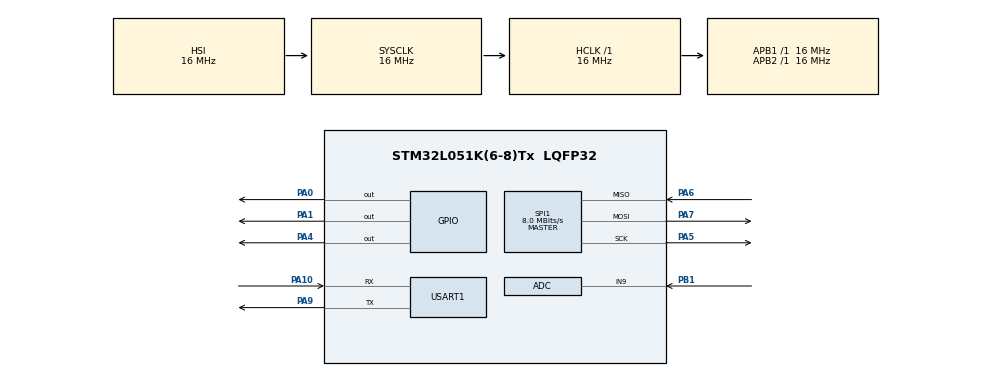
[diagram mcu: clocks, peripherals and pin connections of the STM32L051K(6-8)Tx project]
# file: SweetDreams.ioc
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ADC.ContinuousConvMode=ENABLE
ADC.DMAContinuousRequests=ENABLE
Dma.ADC.0.Direction=DMA_PERIPH_TO_MEMORY
Dma.ADC.0.Instance=DMA1_Channel1
Dma.ADC.0.MemDataAlignment=DMA_MDATAALIGN_BYTE
Dma.ADC.0.MemInc=DMA_MINC_ENABLE
Dma.ADC.0.Mode=DMA_CIRCULAR
Dma.ADC.0.PeriphDataAlignment=DMA_PDATAALIGN_BYTE
Dma.ADC.0.PeriphInc=DMA_PINC_DISABLE
Dma.ADC.0.Priority=DMA_PRIORITY_LOW
Dma.Request0=ADC
Mcu.Family=STM32L0
Mcu.Name=STM32L051K(6-8)Tx
Mcu.Package=LQFP32
NVIC.DMA1_Channel1_IRQn=true\:0\:0\:false\:false\:true\:false\:true\:true
NVIC.RTC_IRQn=true\:0\:0\:false\:false\:true\:true\:true\:true
PA0.PinState=GPIO_PIN_SET
PA0.Signal=GPIO_Output
PA1.Signal=GPIO_Output
PA10.Mode=Asynchronous
PA10.Signal=USART1_RX
PA4.PinState=GPIO_PIN_SET
PA4.Signal=GPIO_Output
PA5.Mode=Full_Duplex_Master
PA5.Signal=SPI1_SCK
PA6.Mode=Full_Duplex_Master
PA6.Signal=SPI1_MISO
PA7.Mode=Full_Duplex_Master
PA7.Signal=SPI1_MOSI
PA9.Mode=Asynchronous
PA9.Signal=USART1_TX
PB1.Mode=IN9
PB1.Signal=ADC_IN9
ProjectManager.HeapSize=0x200
ProjectManager.StackSize=0x400
ProjectManager.TargetToolchain=STM32CubeIDE
RCC.AHBFreq_Value=16000000
RCC.APB1Freq_Value=16000000
RCC.APB1TimFreq_Value=16000000
RCC.APB2Freq_Value=16000000
RCC.APB2TimFreq_Value=16000000
RCC.HCLKFreq_Value=16000000
RCC.HSI16_VALUE=16000000
RCC.HSI_VALUE=16000000
RCC.LSE_VALUE=32768
RCC.MSI_VALUE=2097000
RCC.SYSCLKFreq_VALUE=16000000
RCC.SYSCLKSource=RCC_SYSCLKSOURCE_HSI
RCC.VCOOutputFreq_Value=48000000
SPI1.CalculateBaudRate=8.0 MBits/s
SPI1.Direction=SPI_DIRECTION_2LINES
SPI1.Mode=SPI_MODE_MASTER
SPI1.VirtualType=VM_MASTER
USART1.SwapParam=ADVFEATURE_SWAP_ENABLE
USART1.VirtualMode-Asynchronous=VM_ASYNC
VP_RTC_VS_RTC_Activate.Mode=RTC_Enabled
VP_RTC_VS_RTC_WakeUp_intern.Mode=WakeUp
board=custom

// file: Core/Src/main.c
/* USER CODE BEGIN Header */
/**
  ******************************************************************************
  * @file           : main.c
  * @brief          : Main program body
  ******************************************************************************
  * @attention
  *
  * Copyright (c) 2023 STMicroelectronics.
  * All rights reserved.
  *
  * This software is licensed under terms that can be found in the LICENSE file
  * in the root directory of this software component.
  * If no LICENSE file comes with this software, it is provided AS-IS.
  *
  ******************************************************************************
  */
/* USER CODE END Header */
#include "main.h"

/* USER CODE BEGIN Includes */
#include "bme280.h"
#include "bma456.h"
#include <stdio.h>
#include <string.h>
/* USER CODE END Includes */

/* USER CODE BEGIN PD */
#define BUFFER_SIZE 128
#define receive_size 1
/* USER CODE END PD */

ADC_HandleTypeDef hadc;
DMA_HandleTypeDef hdma_adc;

RTC_HandleTypeDef hrtc;

SPI_HandleTypeDef hspi1;

UART_HandleTypeDef huart1;

/* USER CODE BEGIN PV */
//char ATcommand[64];
uint16_t ble_msg_len;
uint16_t i = 0;
//char buffer[BUFFER_SIZE];
//int bufferIndex = 0;
//uint8_t received_byte[10];
uint16_t adc_buffer[32];
/* USER CODE END PV */

void SystemClock_Config(void);
static void MX_GPIO_Init(void);
static void MX_DMA_Init(void);
static void MX_ADC_Init(void);
static void MX_USART1_UART_Init(void);
static void MX_SPI1_Init(void);
static void MX_RTC_Init(void);

/* USER CODE BEGIN 0 */
#define SENSOR_BUS hspi1;
struct bme280_dev dev;
struct bme280_data comp_data;
void BMA456_SPI_Read(uint8_t reg_addr, uint8_t *reg_data, uint32_t len_addr, uint32_t len_data);
void BMA456_SPI_Write(uint8_t reg_addr, uint8_t reg_data);
uint8_t BMA456_Check_Connection();
uint8_t data_read[6];
//void SendMSG(char* cmd){
//	  ble_msg_len= strlen(cmd);
//
//	  strcpy(ATcommand,cmd);
//	  ATcommand[ble_msg_len++]='\r';
////
//
////      received_byte[9] = '\0'; // Null-terminate the buffer
////	  memset( received_byte, 0, 10);
//	  HAL_UART_Transmit(&huart1,(uint8_t *)ATcommand,ble_msg_len,HAL_MAX_DELAY);
//	  HAL_Delay(1000);
//	  for(uint8_t u; u<64; u++){
//		  ATcommand[u]=0;
//	  }
//
//
//}

//uint8_t BME280_Check_Connection(void *intf_ptr)
//{
//	uint8_t reg_addr = 0xD0;
//	reg_addr |= 0x80;
//	uint8_t reg_addr_tab[2];
//	reg_addr_tab[0] = reg_addr;
//	uint8_t reg_data[2];
//
//    HAL_GPIO_WritePin(GPIOA, GPIO_PIN_4, GPIO_PIN_RESET);
//
//    HAL_SPI_TransmitReceive(intf_ptr, reg_addr_tab,reg_data, 2, 1000);
//	//HAL_SPI_Receive(intf_ptr,  2, 1000);
//
//    HAL_GPIO_WritePin(GPIOA, GPIO_PIN_4, GPIO_PIN_SET);
//
//    if( reg_data[1] == 0x60)
//    {
//    	return 1;
//    }else{
//    	return 0;
//    }
//}
//void HAL_UART_RxCpltCallback(UART_HandleTypeDef *huart);
void HAL_ADC_ConvHalfCpltCallback(ADC_HandleTypeDef* hadc);
void HAL_ADC_ConvCpltCallback(ADC_HandleTypeDef* hadc);
/* USER CODE END 0 */

int main(void)
{

  /* MCU Configuration--------------------------------------------------------*/

  /* Reset of all peripherals, Initializes the Flash interface and the Systick. */
  HAL_Init();

  /* Configure the system clock */
  SystemClock_Config();

  /* Initialize all configured peripherals */
  MX_GPIO_Init();
  MX_DMA_Init();
  MX_ADC_Init();
  MX_USART1_UART_Init();
  MX_SPI1_Init();
  MX_RTC_Init();
  /* USER CODE BEGIN 2 */
  HAL_Delay(800);
  HAL_ADC_Start_DMA(&hadc, adc_buffer,64);
  //HAL_UART_Receive_IT(&huart1,  received_byte,2);

  //HAL_UART_IRQHandler(&huart1);
  HAL_Delay(800);
 // printf("Test UART\r\n");
 // SendMSG("\n");
  int8_t rslt_bme = bme280_init(&dev);
  if (rslt_bme != BME280_OK)
  {
	  while(1);
  }
  HAL_Delay(100);
  uint8_t rslt_bma = BMA456_Check_Connection();
  if(rslt_bma != 1)
  {
	  while(1);
  }
  HAL_Delay(100);
  stream_sensor_data_normal_mode(&dev);
  //uint8_t rslt_bme = BME280_Check_Connection(&hspi1);

//  // HAL_Delay(1000);
//  SendMSG("AT");
//
//
//  HAL_Delay(1000);
//  SendMSG("AT&F");
//
//
//  HAL_Delay(1000);
//  SendMSG("AT%S 0=\"Cuk1\""); // ustawienie device name
//
//
//  HAL_Delay(1000);
//  SendMSG("AT%S 1=\"2154657374776961646F6D6F73636921\""); //UUID
//
//
//  HAL_Delay(1000);
//  SendMSG("ATS 100=1"); // VSP And start advertow
//
//
//  HAL_Delay(1000);
//  SendMSG("ATS 100=?"); // VSP And start advertow
//
//
//  HAL_Delay(1000);
//
//  SendMSG("ATS 101=4"); // 4dBm
//
//  HAL_Delay(800);
//  SendMSG("ATS 103=0"); // nazwe ustawia na ta wczesniej wpisana
//
//
//  HAL_Delay(1000);
//  SendMSG("ATS 106=100"); // ustawia 100 sekund na skanowanie
////  HAL_Delay(800);
////  SendMSG("ATS 108=3"); // ustawia tryb advertow dla nonvsp
//
//
//
//
//  HAL_Delay(1000);
//  SendMSG("ATS 109=1");
//  HAL_Delay(1000);
//  SendMSG("ATS 109?");
//  //adc_buffer;
//  HAL_Delay(1000);
// // received_byte[0];
//  SendMSG("ATS 201=200");  // interwal advertow vsp
//
//  HAL_Delay(1000);
//
//  SendMSG("ATS 204=256");  // tx bufor vsp
//
//  HAL_Delay(1000);
//
//  SendMSG("ATS 205=256");  // rx bufor vsp
//
//  HAL_Delay(1000);
//
//  SendMSG("ATS 301=7500");  //vsp connection interval
//
//  HAL_Delay(1000);
//
//
//  SendMSG("AT&W"); // zapis rejestru S
//  HAL_Delay(1000);
//
//
//  SendMSG("ATZ"); //restart
//  HAL_Delay(1000);
//
//
//  printf("Kuniec \r\n");
  //SendMSG("AT+LSCN, 500"); //start scanowania do vsp z limitem 500 sekund

  HAL_Delay(800);
  /* USER CODE END 2 */

  /* Infinite loop */
  /* USER CODE BEGIN WHILE */
//  uint8_t Sum[2];
//  Sum[0] = rslt_a;
//  Sum[1] = rslt_e;
 // char Sum_s[2][4];
char Temp[10];
char Hum[10];
  rslt_bma=100;
  rslt_bme=150;

//  itoa(rslt_bma, Sum_s[0], 10);
//  itoa(rslt_bme, Sum_s[1], 10);
//
//  for(int i=strlen(Sum_s[0]); i<=3; i++){
//	  Sum_s[0][i]=' ';
//  }
//
//  for(int i=strlen(Sum_s[1]); i<=3; i++){
//	  Sum_s[1][i]=' ';
//  }

  while (1)
  {
	  //double temp = comp_data->temperature;
	  //double hum = comp_data->humidity;
//	  itoa(comp_data.temperature, Sum_s[0], 10);
//	  itoa(comp_data.humidity, Sum_s[1], 10);
//	  for(int i=strlen(Sum_s[0]); i<=3; i++){
//		  Sum_s[0][i]=' ';
//	  }
//
//	  for(int i=strlen(Sum_s[1]); i<=3; i++){
//		  Sum_s[1][i]=' ';
//	  }
	  sprintf(Temp, "%f",comp_data.temperature);
	  sprintf(Hum, "%f",comp_data.humidity);
	  HAL_Delay(1000);
	  HAL_GPIO_WritePin(GPIOA, GPIO_PIN_1, GPIO_PIN_SET);
	  HAL_Delay(2000);
	  HAL_GPIO_WritePin(GPIOA, GPIO_PIN_1, GPIO_PIN_RESET);
	  bme280_get_sensor_data(BME280_HUM, &comp_data,&dev);
	  BMA456_Get_Sensor_Data(data_read);
//	  HAL_UART_Transmit(&huart1,temp,4,HAL_MAX_DELAY);
//	  HAL_UART_Transmit(&huart1,hum,4,HAL_MAX_DELAY);
	  HAL_UART_Transmit(&huart1,Temp,4,HAL_MAX_DELAY);
	  HAL_UART_Transmit(&huart1,Hum,4,HAL_MAX_DELAY);
//	  HAL_UART_Transmit(&huart1,adc_buffer,strlen(adc_buffer),HAL_MAX_DELAY);
//	  HAL_GPIO_WritePin(GPIOA, GPIO_PIN_4, GPIO_PIN_RESET);
//	  HAL_SPI_Receive(&hspi2, tempbuff, 13, 1000);
//
//	  HAL_GPIO_WritePin(GPIOA, GPIO_PIN_4, GPIO_PIN_SET);
	    HAL_SuspendTick();

	  HAL_RTCEx_SetWakeUpTimer_IT(&hrtc, 0x5A56, RTC_WAKEUPCLOCK_RTCCLK_DIV16);

	  	 // HAL_PWREx_EnableLowPowerRunMode();
	  	  HAL_PWR_EnterSTOPMode(PWR_LOWPOWERREGULATOR_ON, PWR_STOPENTRY_WFI);
	    //HAL_PWREx_EnterSTOP2Mode(PWR_STOPENTRY_WFI);
	    HAL_RTCEx_DeactivateWakeUpTimer(&hrtc);
	    SystemClock_Config();
	    HAL_ResumeTick();
	    HAL_Delay(2000);
	   // HAL_PWREx_DisableLowPowerRunMode();
    /* USER CODE END WHILE */

  }
}

void SystemClock_Config(void)
{
  RCC_OscInitTypeDef RCC_OscInitStruct = {0};
  RCC_ClkInitTypeDef RCC_ClkInitStruct = {0};
  RCC_PeriphCLKInitTypeDef PeriphClkInit = {0};

  /** Configure the main internal regulator output voltage
  */
  __HAL_PWR_VOLTAGESCALING_CONFIG(PWR_REGULATOR_VOLTAGE_SCALE1);

  /** Initializes the RCC Oscillators according to the specified parameters
  * in the RCC_OscInitTypeDef structure.
  */
  RCC_OscInitStruct.OscillatorType = RCC_OSCILLATORTYPE_HSI|RCC_OSCILLATORTYPE_LSI;
  RCC_OscInitStruct.HSIState = RCC_HSI_ON;
  RCC_OscInitStruct.HSICalibrationValue = RCC_HSICALIBRATION_DEFAULT;
  RCC_OscInitStruct.LSIState = RCC_LSI_ON;
  RCC_OscInitStruct.PLL.PLLState = RCC_PLL_NONE;
  if (HAL_RCC_OscConfig(&RCC_OscInitStruct) != HAL_OK)
  {
    Error_Handler();
  }

  /** Initializes the CPU, AHB and APB buses clocks
  */
  RCC_ClkInitStruct.ClockType = RCC_CLOCKTYPE_HCLK|RCC_CLOCKTYPE_SYSCLK
                              |RCC_CLOCKTYPE_PCLK1|RCC_CLOCKTYPE_PCLK2;
  RCC_ClkInitStruct.SYSCLKSource = RCC_SYSCLKSOURCE_HSI;
  RCC_ClkInitStruct.AHBCLKDivider = RCC_SYSCLK_DIV1;
  RCC_ClkInitStruct.APB1CLKDivider = RCC_HCLK_DIV1;
  RCC_ClkInitStruct.APB2CLKDivider = RCC_HCLK_DIV1;

  if (HAL_RCC_ClockConfig(&RCC_ClkInitStruct, FLASH_LATENCY_0) != HAL_OK)
  {
    Error_Handler();
  }
  PeriphClkInit.PeriphClockSelection = RCC_PERIPHCLK_USART1|RCC_PERIPHCLK_RTC;
  PeriphClkInit.Usart1ClockSelection = RCC_USART1CLKSOURCE_PCLK2;
  PeriphClkInit.RTCClockSelection = RCC_RTCCLKSOURCE_LSI;
  if (HAL_RCCEx_PeriphCLKConfig(&PeriphClkInit) != HAL_OK)
  {
    Error_Handler();
  }
}

static void MX_ADC_Init(void)
{

  ADC_ChannelConfTypeDef sConfig = {0};

  /** Configure the global features of the ADC (Clock, Resolution, Data Alignment and number of conversion)
  */
  hadc.Instance = ADC1;
  hadc.Init.OversamplingMode = DISABLE;
  hadc.Init.ClockPrescaler = ADC_CLOCK_SYNC_PCLK_DIV1;
  hadc.Init.Resolution = ADC_RESOLUTION_12B;
  hadc.Init.SamplingTime = ADC_SAMPLETIME_1CYCLE_5;
  hadc.Init.ScanConvMode = ADC_SCAN_DIRECTION_FORWARD;
  hadc.Init.DataAlign = ADC_DATAALIGN_RIGHT;
  hadc.Init.ContinuousConvMode = ENABLE;
  hadc.Init.DiscontinuousConvMode = DISABLE;
  hadc.Init.ExternalTrigConvEdge = ADC_EXTERNALTRIGCONVEDGE_NONE;
  hadc.Init.ExternalTrigConv = ADC_SOFTWARE_START;
  hadc.Init.DMAContinuousRequests = ENABLE;
  hadc.Init.EOCSelection = ADC_EOC_SINGLE_CONV;
  hadc.Init.Overrun = ADC_OVR_DATA_PRESERVED;
  hadc.Init.LowPowerAutoWait = DISABLE;
  hadc.Init.LowPowerFrequencyMode = DISABLE;
  hadc.Init.LowPowerAutoPowerOff = DISABLE;
  if (HAL_ADC_Init(&hadc) != HAL_OK)
  {
    Error_Handler();
  }

  /** Configure for the selected ADC regular channel to be converted.
  */
  sConfig.Channel = ADC_CHANNEL_9;
  sConfig.Rank = ADC_RANK_CHANNEL_NUMBER;
  if (HAL_ADC_ConfigChannel(&hadc, &sConfig) != HAL_OK)
  {
    Error_Handler();
  }

}

static void MX_RTC_Init(void)
{

  /** Initialize RTC Only
  */
  hrtc.Instance = RTC;
  hrtc.Init.HourFormat = RTC_HOURFORMAT_24;
  hrtc.Init.AsynchPrediv = 127;
  hrtc.Init.SynchPrediv = 255;
  hrtc.Init.OutPut = RTC_OUTPUT_DISABLE;
  hrtc.Init.OutPutRemap = RTC_OUTPUT_REMAP_NONE;
  hrtc.Init.OutPutPolarity = RTC_OUTPUT_POLARITY_HIGH;
  hrtc.Init.OutPutType = RTC_OUTPUT_TYPE_OPENDRAIN;
  if (HAL_RTC_Init(&hrtc) != HAL_OK)
  {
    Error_Handler();
  }

  /** Enable the WakeUp
  */
  if (HAL_RTCEx_SetWakeUpTimer_IT(&hrtc, 0, RTC_WAKEUPCLOCK_RTCCLK_DIV16) != HAL_OK)
  {
    Error_Handler();
  }

}

static void MX_SPI1_Init(void)
{

  /* SPI1 parameter configuration*/
  hspi1.Instance = SPI1;
  hspi1.Init.Mode = SPI_MODE_MASTER;
  hspi1.Init.Direction = SPI_DIRECTION_2LINES;
  hspi1.Init.DataSize = SPI_DATASIZE_8BIT;
  hspi1.Init.CLKPolarity = SPI_POLARITY_LOW;
  hspi1.Init.CLKPhase = SPI_PHASE_1EDGE;
  hspi1.Init.NSS = SPI_NSS_SOFT;
  hspi1.Init.BaudRatePrescaler = SPI_BAUDRATEPRESCALER_2;
  hspi1.Init.FirstBit = SPI_FIRSTBIT_MSB;
  hspi1.Init.TIMode = SPI_TIMODE_DISABLE;
  hspi1.Init.CRCCalculation = SPI_CRCCALCULATION_DISABLE;
  hspi1.Init.CRCPolynomial = 7;
  if (HAL_SPI_Init(&hspi1) != HAL_OK)
  {
    Error_Handler();
  }

}

static void MX_USART1_UART_Init(void)
{

  huart1.Instance = USART1;
  huart1.Init.BaudRate = 115200;
  huart1.Init.WordLength = UART_WORDLENGTH_8B;
  huart1.Init.StopBits = UART_STOPBITS_1;
  huart1.Init.Parity = UART_PARITY_NONE;
  huart1.Init.Mode = UART_MODE_TX_RX;
  huart1.Init.HwFlowCtl = UART_HWCONTROL_NONE;
  huart1.Init.OverSampling = UART_OVERSAMPLING_16;
  huart1.Init.OneBitSampling = UART_ONE_BIT_SAMPLE_DISABLE;
  huart1.AdvancedInit.AdvFeatureInit = UART_ADVFEATURE_SWAP_INIT;
  huart1.AdvancedInit.Swap = UART_ADVFEATURE_SWAP_ENABLE;
  if (HAL_UART_Init(&huart1) != HAL_OK)
  {
    Error_Handler();
  }

}

static void MX_DMA_Init(void)
{

  /* DMA controller clock enable */
  __HAL_RCC_DMA1_CLK_ENABLE();

  /* DMA interrupt init */
  /* DMA1_Channel1_IRQn interrupt configuration */
  HAL_NVIC_SetPriority(DMA1_Channel1_IRQn, 0, 0);
  HAL_NVIC_EnableIRQ(DMA1_Channel1_IRQn);

}

static void MX_GPIO_Init(void)
{
  GPIO_InitTypeDef GPIO_InitStruct = {0};

  /* GPIO Ports Clock Enable */
  __HAL_RCC_GPIOA_CLK_ENABLE();
  __HAL_RCC_GPIOB_CLK_ENABLE();

  /*Configure GPIO pin Output Level */
  HAL_GPIO_WritePin(GPIOA, GPIO_PIN_0|GPIO_PIN_4, GPIO_PIN_SET);

  /*Configure GPIO pin Output Level */
  HAL_GPIO_WritePin(GPIOA, GPIO_PIN_1, GPIO_PIN_RESET);

  /*Configure GPIO pins : PA0 PA1 PA4 */
  GPIO_InitStruct.Pin = GPIO_PIN_0|GPIO_PIN_1|GPIO_PIN_4;
  GPIO_InitStruct.Mode = GPIO_MODE_OUTPUT_PP;
  GPIO_InitStruct.Pull = GPIO_NOPULL;
  GPIO_InitStruct.Speed = GPIO_SPEED_FREQ_LOW;
  HAL_GPIO_Init(GPIOA, &GPIO_InitStruct);

}

/* USER CODE BEGIN 4 */
void HAL_ADC_ConvHalfCpltCallback(ADC_HandleTypeDef* hadc){

}
void HAL_ADC_ConvCpltCallback(ADC_HandleTypeDef* hadc){

}
void BME280_SPI_Read(uint8_t reg_addr, uint8_t *reg_data, uint32_t len)
{
    reg_addr = reg_addr | 0x80;

    HAL_GPIO_WritePin(GPIOA, GPIO_PIN_4, GPIO_PIN_RESET);

    HAL_SPI_Transmit(&hspi1, &reg_addr, 1, 1000);
	HAL_SPI_Receive(&hspi1, reg_data, len, 1000);

	HAL_GPIO_WritePin(GPIOA, GPIO_PIN_4, GPIO_PIN_SET);
}

void BME280_SPI_Write(uint8_t reg_addr, uint8_t *reg_data, uint32_t len)
{
    reg_addr = reg_addr & 0x7F;

    HAL_GPIO_WritePin(GPIOA, GPIO_PIN_4, GPIO_PIN_RESET);

    HAL_SPI_Transmit(&hspi1, &reg_addr, 1, 1000);
    HAL_SPI_Transmit(&hspi1, reg_data, len, 1000);

    HAL_GPIO_WritePin(GPIOA, GPIO_PIN_4, GPIO_PIN_SET);
}

void stream_sensor_data_normal_mode(struct bme280_dev *dev)
{
	//int8_t rslt;
	uint8_t settings_sel;
	//struct bme280_data comp_data;

	/* Recommended mode of operation: Indoor navigation */
	dev->settings.osr_h = BME280_OVERSAMPLING_1X;
	dev->settings.osr_p = BME280_NO_OVERSAMPLING; // BME280_OVERSAMPLING_16X;
	dev->settings.osr_t = BME280_OVERSAMPLING_2X;
	//dev->settings.filter = BME280_FILTER_COEFF_16;
	//dev->settings.standby_time = BME280_STANDBY_TIME_62_5_MS;

	//settings_sel = BME280_OSR_PRESS_SEL;
	settings_sel = BME280_OSR_TEMP_SEL; // |= BME280_OSR_TEMP_SEL;
	settings_sel |= BME280_OSR_HUM_SEL;
	settings_sel |= BME280_STANDBY_SEL;
	settings_sel |= BME280_FILTER_SEL;
	bme280_set_sensor_settings(settings_sel, dev);
	bme280_set_sensor_mode(BME280_NORMAL_MODE, dev);

}

uint8_t BMA456_Check_Connection()
{
	uint8_t reg_addr = 0x00;
	reg_addr |= 0x80;
	uint8_t reg_addr_tab[2];
	reg_addr_tab[0] = reg_addr;
	uint8_t reg_data[2];

	do{
    HAL_GPIO_WritePin(GPIOA, GPIO_PIN_0, GPIO_PIN_RESET);

    HAL_SPI_TransmitReceive(&hspi1, reg_addr_tab,reg_data, 2, 1000);

    HAL_GPIO_WritePin(GPIOA, GPIO_PIN_0, GPIO_PIN_SET);
	}while(reg_data[1] != 0x16);

    return 1;

}

void BMA456_Init()
{
//  HAL_GPIO_WritePin(GPIOB, GPIO_PIN_8, GPIO_PIN_SET);

	//BMA456_SPI_Write(BMA456_PWR_CONF, 0x02, &hspi2);
	//HAL_Delay(10);

	//BMA456_SPI_Write(BMA456_PWR_CTRL, 0x00, &hspi2);
	//HAL_Delay(10);

	BMA456_SPI_Write(BMA456_CMD, 0xB6);
	HAL_Delay(10);

	BMA456_SPI_Write(BMA456_PWR_CONF, 0x00);
	HAL_Delay(10);

	BMA456_SPI_Write(BMA456_INIT_CTRL, 0x00);
	HAL_Delay(10);

	BMA456_SPI_Write(BMA456_INIT_CTRL, 0x01);
	HAL_Delay(10);

	HAL_Delay (150);

	BMA456_SPI_Write(BMA456_PWR_CTRL, 0x04);
	HAL_Delay(10);

	BMA456_SPI_Write(BMA456_ACC_CONF, 0x17);
	HAL_Delay(10);

	BMA456_SPI_Write(BMA456_PWR_CONF, 0x03);
	HAL_Delay(10);
}

void BMA456_Get_Sensor_Data(uint8_t *data_read)
{
	uint8_t reg_addr = 0x12;
	reg_addr |= 0x80;
	uint8_t data_sent[6];
	data_sent[0] = reg_addr;

    HAL_GPIO_WritePin(GPIOA, GPIO_PIN_0, GPIO_PIN_RESET);
	HAL_SPI_TransmitReceive(&hspi1, data_sent, data_read, 6, 100);
	HAL_GPIO_WritePin(GPIOA, GPIO_PIN_0, GPIO_PIN_SET);

}
void BMA456_SPI_Read(uint8_t reg_addr, uint8_t *reg_data, uint32_t len_addr, uint32_t len_data)
{
	reg_addr |= 0x80;

    HAL_GPIO_WritePin(GPIOA, GPIO_PIN_0, GPIO_PIN_RESET);

    HAL_SPI_Transmit(&hspi1, &reg_addr, len_addr, 1000);
	HAL_SPI_Receive(&hspi1, reg_data, len_data, 1000);

    HAL_GPIO_WritePin(GPIOA, GPIO_PIN_0, GPIO_PIN_SET);

}
void BMA456_SPI_Write(uint8_t reg_addr, uint8_t reg_data)
{
	uint8_t reg_data_tab[2];
	reg_data_tab[0] = reg_addr & 0x7F;
	reg_data_tab[1] = reg_data;

    HAL_GPIO_WritePin(GPIOA, GPIO_PIN_0, GPIO_PIN_RESET);

	HAL_SPI_Transmit(&hspi1, reg_data_tab, 2, 1000);

    HAL_GPIO_WritePin(GPIOA, GPIO_PIN_0, GPIO_PIN_SET);
}

//void HAL_UART_RxCpltCallback(UART_HandleTypeDef *huart)
//{
//
//	HAL_UART_Receive_IT(&huart1,received_byte,2);
//
//	buffer[bufferIndex] = received_byte[0];
//	bufferIndex++;
//	buffer[bufferIndex] = received_byte[1];
//	bufferIndex++;
//}
/* USER CODE END 4 */

void Error_Handler(void)
{
  __disable_irq();
  while (1)
  {
  }
}
